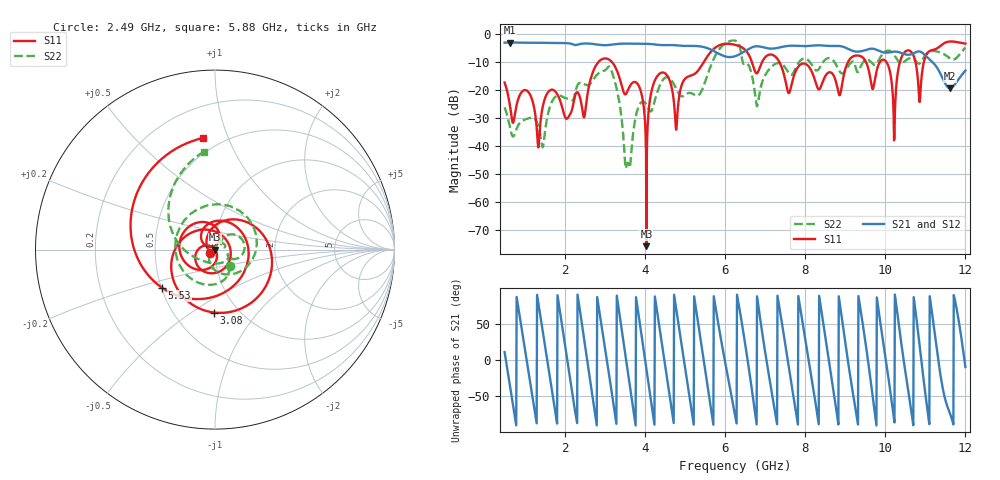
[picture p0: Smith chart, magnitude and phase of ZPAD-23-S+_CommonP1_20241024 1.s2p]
# GHZ S RI R 50
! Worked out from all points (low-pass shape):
!   1151 points, 500 MHz to 12 GHz, reference 50 ohm
!   highest |S21| = -3.21 dB at 640 MHz (marker M1); lowest = -19.5 dB at 11.61 GHz (marker M2)
!   |S21| within 3 dB of the highest: start of sweep to 5.713 GHz; 6.508 GHz to 9.192 GHz (2.684 GHz wide, 34.2 % of centre)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
!   lowest |S11| = -75.9 dB at 4.04 GHz (marker M3), VSWR 1.00, Z = 50 + j0.013 ohm
!   |S11| at or under -10 dB: start of sweep to 2.854 GHz; 3.168 GHz to 5.477 GHz (2.309 GHz wide, 53.4 % of centre); 7.351 GHz to 9.077 GHz (1.725 GHz wide, 21 % of centre)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
!   |S22| runs from -48.1 to -2.5 dB; largest |S21 - S12| = 0
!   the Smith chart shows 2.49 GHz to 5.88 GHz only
!   S11 on the Smith chart (normalised r, x): 2.49 GHz: 0.95, -0.03; 3.08 GHz: 0.78, -0.62; 5.53 GHz: 0.50, -0.25; 5.88 GHz: 0.40, +0.81
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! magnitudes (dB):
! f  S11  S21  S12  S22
! 500 MHz  -17.5  -3.3  -3.3  -26.4
! 640 MHz  -26.3  -3.2  -3.2  -33.8
! 1.45 GHz  -26.2  -3.3  -3.3  -40.6
! 2.42 GHz  -25.4  -3.6  -3.6  -17.6
! 2.49 GHz  -29.8  -3.6  -3.6  -18.1
! 3.08 GHz  -9.1  -4.1  -4.1  -12.0
! 3.56 GHz  -20.8  -3.6  -3.6  -46.3
! 3.87 GHz  -19.4  -3.7  -3.7  -25.3
! 4.04 GHz  -75.9  -3.7  -3.7  -25.3
! 4.34 GHz  -14.7  -4.0  -4.0  -19.7
! 4.78 GHz  -34.3  -4.2  -4.2  -19.7
! 5.53 GHz  -8.8  -5.1  -5.1  -16.1
! 5.88 GHz  -4.1  -7.5  -7.5  -5.2
! 6.25 GHz  -4.0  -8.1  -8.1  -2.5
! 6.8 GHz  -14.2  -4.5  -4.5  -26.0
! 8.17 GHz  -13.7  -4.3  -4.3  -11.2
! 10.09 GHz  -12.1  -6.7  -6.7  -6.1
! 10.22 GHz  -38.1  -6.5  -6.5  -7.6
! 10.48 GHz  -6.7  -7.4  -7.4  -10.0
! 10.86 GHz  -24.4  -6.4  -6.4  -10.7
! 11.61 GHz  -2.9  -19.5  -19.5  -8.8
! 12 GHz  -3.6  -13.2  -13.2  -5.0
